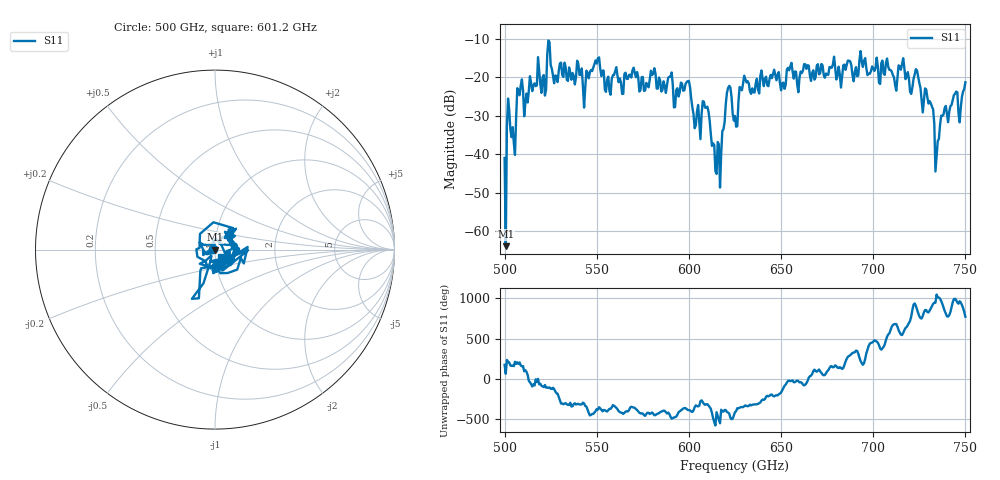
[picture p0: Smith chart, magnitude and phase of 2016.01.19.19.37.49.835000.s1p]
!Created with skrf (http://scikit-rf.org).
# GHz S RI R 50.0
!freq ReS11 ImS11
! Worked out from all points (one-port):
!   401 points, 500 GHz to 750 GHz, reference 50 ohm
!   lowest |S11| = -64.0 dB at 500.6 GHz (marker M1), VSWR 1.00, Z = 50 + j0.0555 ohm
!   |S11| at or under -10 dB: start of sweep to end of sweep
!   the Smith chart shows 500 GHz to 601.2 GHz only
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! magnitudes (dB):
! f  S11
! 500 GHz  -41.0
! 500.6 GHz  -64.0
! 502.5 GHz  -28.6
! 505 GHz  -37.1
! 508.1 GHz  -24.6
! 521.2 GHz  -19.4
! 524.4 GHz  -10.9
! 527.5 GHz  -19.5
! 531.2 GHz  -19.3
! 543.8 GHz  -22.7
! 550 GHz  -16.4
! 562.5 GHz  -20.3
! 580.6 GHz  -19.1
! 593.8 GHz  -22.8
! 599.4 GHz  -20.9
! 605 GHz  -27.2
! 608.8 GHz  -27.9
! 615.6 GHz  -36.8
! 621.2 GHz  -22.8
! 625 GHz  -30.1
! 630.6 GHz  -20.4
! 656.2 GHz  -18.5
! 687.5 GHz  -15.8
! 718.8 GHz  -18.6
! 729.4 GHz  -25.2
! 735 GHz  -36.6
! 738.1 GHz  -29.6
! 750 GHz  -21.3
